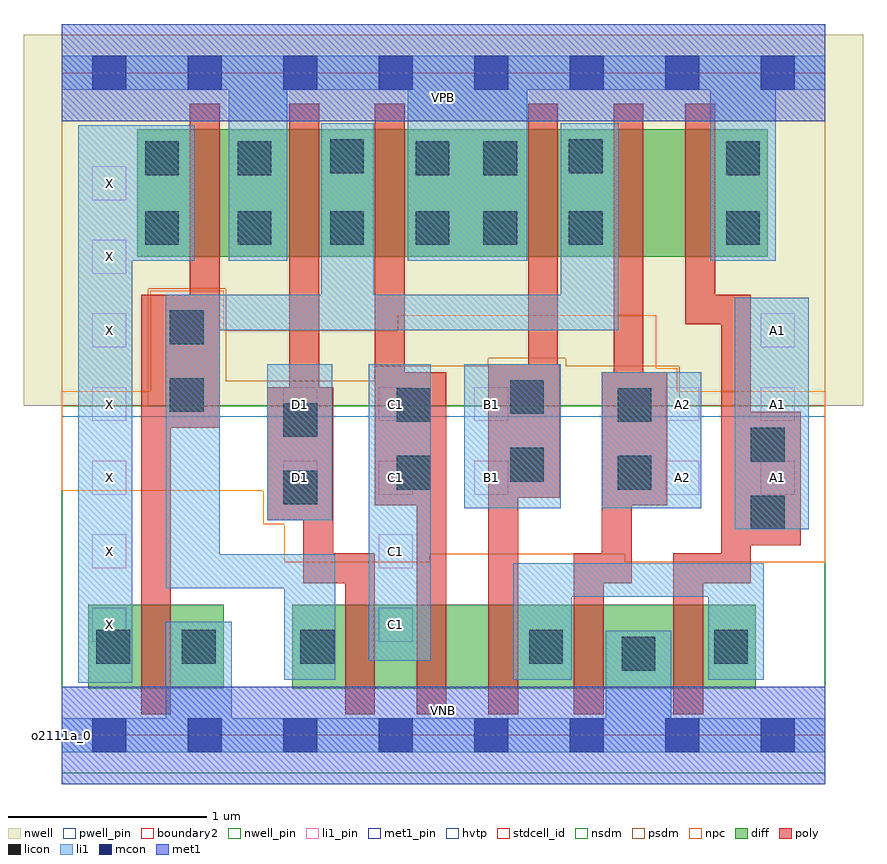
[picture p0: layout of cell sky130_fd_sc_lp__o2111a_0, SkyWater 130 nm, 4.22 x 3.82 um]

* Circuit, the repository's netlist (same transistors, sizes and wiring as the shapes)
* Copyright 2020 The SkyWater PDK Authors
*
* Licensed under the Apache License, Version 2.0 (the "License");
* you may not use this file except in compliance with the License.
* You may obtain a copy of the License at
*
*     https://www.apache.org/licenses/LICENSE-2.0
*
* Unless required by applicable law or agreed to in writing, software
* distributed under the License is distributed on an "AS IS" BASIS,
* WITHOUT WARRANTIES OR CONDITIONS OF ANY KIND, either express or implied.
* See the License for the specific language governing permissions and
* limitations under the License.
*
* SPDX-License-Identifier: Apache-2.0

.SUBCKT sky130_fd_sc_lp__o2111a_0 A1 A2 B1 C1 D1 VGND VNB VPB VPWR X
*.PININFO A1:I A2:I B1:I C1:I D1:I VGND:I VNB:I VPB:I VPWR:I X:O
MMPA0 VPWR A1 sndA1 VPB sky130_fd_pr__pfet_01v8_hvt m=1 w=0.64U l=0.15U mult=1
+ sa=0.265 sb=0.265 sd=0.28 area=0.063 perim=1.14
MMPA1 sndA1 A2 y VPB sky130_fd_pr__pfet_01v8_hvt m=1 w=0.64U l=0.15U mult=1 sa=0.265
+ sb=0.265 sd=0.28 area=0.063 perim=1.14
MMPB0 VPWR B1 y VPB sky130_fd_pr__pfet_01v8_hvt m=1 w=0.64U l=0.15U mult=1 sa=0.265
+ sb=0.265 sd=0.28 area=0.063 perim=1.14
MMPC0 VPWR C1 y VPB sky130_fd_pr__pfet_01v8_hvt m=1 w=0.64U l=0.15U mult=1 sa=0.265
+ sb=0.265 sd=0.28 area=0.063 perim=1.14
MMPD0 VPWR D1 y VPB sky130_fd_pr__pfet_01v8_hvt m=1 w=0.64U l=0.15U mult=1 sa=0.265
+ sb=0.265 sd=0.28 area=0.063 perim=1.14
MMIPX X y VPWR VPB sky130_fd_pr__pfet_01v8_hvt m=1 w=0.64U l=0.15U mult=1 sa=0.265
+ sb=0.265 sd=0.28 area=0.063 perim=1.14
MMNA0 pndA A1 VGND VNB sky130_fd_pr__nfet_01v8 m=1 w=0.42U l=0.15U mult=1 sa=0.265
+ sb=0.265 sd=0.28 area=0.063 perim=1.14
MMNA1 pndA A2 VGND VNB sky130_fd_pr__nfet_01v8 m=1 w=0.42U l=0.15U mult=1 sa=0.265
+ sb=0.265 sd=0.28 area=0.063 perim=1.14
MMNB0 pndB B1 pndA VNB sky130_fd_pr__nfet_01v8 m=1 w=0.42U l=0.15U mult=1 sa=0.265
+ sb=0.265 sd=0.28 area=0.063 perim=1.14
MMNC0 pndC C1 pndB VNB sky130_fd_pr__nfet_01v8 m=1 w=0.42U l=0.15U mult=1 sa=0.265
+ sb=0.265 sd=0.28 area=0.063 perim=1.14
MMND0 y D1 pndC VNB sky130_fd_pr__nfet_01v8 m=1 w=0.42U l=0.15U mult=1 sa=0.265
+ sb=0.265 sd=0.28 area=0.063 perim=1.14
MMINX X y VGND VNB sky130_fd_pr__nfet_01v8 m=1 w=0.42U l=0.15U mult=1 sa=0.265
+ sb=0.265 sd=0.28 area=0.063 perim=1.14
.ENDS sky130_fd_sc_lp__o2111a_0

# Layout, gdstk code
import gdstk
lib = gdstk.Library(unit=1e-6, precision=1e-09)
def R(c, l, rs):  # rectangles x0, y0, x1, y1
    for r in rs: c.add(gdstk.rectangle(r[:2], r[2:], *l))
def A(c, l, x, y, w, h, nx, ny, dx, dy):  # array of equal rectangles
    R(c, l, [(x+i*dx, y+j*dy, x+i*dx+w, y+j*dy+h) for i in range(nx) for j in range(ny)])
def P(c, l, *ps):  # polygons
    for p in ps: c.add(gdstk.Polygon(p, *l))
nwell_pin = (64, 16)
nwell = (64, 20)
diff = (65, 20)
poly = (66, 20)
licon = (66, 44)
li1_pin = (67, 16)
li1 = (67, 20)
mcon = (67, 44)
met1_pin = (68, 16)
met1 = (68, 20)
hvtp = (78, 44)
stdcell_id = (81, 4)
nsdm = (93, 44)
psdm = (94, 20)
npc = (95, 20)
pwell_pin = (122, 16)
boundary2 = (236, 0)

sky130_fd_sc_lp__o2111a_ = lib.new_cell('sky130_fd_sc_lp__o2111a_0')
R(sky130_fd_sc_lp__o2111a_, nwell_pin, [(0,3.085,3.84,3.33)])
R(sky130_fd_sc_lp__o2111a_, nwell, [(-0.19,1.655,4.03,3.52)])
R(sky130_fd_sc_lp__o2111a_, diff, [(0.135,0.235,0.815,0.655), (1.16,0.235,3.49,0.655), (0.38,2.405,3.55,3.045)])
P(sky130_fd_sc_lp__o2111a_, poly, [(0.795,3.175),(0.645,3.175),(0.645,2.215),(0.4,2.215),(0.4,0.105),(0.55,0.105),(0.55,1.545),(0.795,1.545)],
  [(1.575,0.915),(1.365,0.915),(1.365,1.75),(1.295,1.75),(1.295,3.175),(1.145,3.175),(1.145,1.75),(1.035,1.75),(1.035,1.08),(1.215,1.08),(1.215,0.765),(1.425,0.765),(1.425,0.105),(1.575,0.105)],
  [(1.935,1.825),(1.725,1.825),(1.725,3.175),(1.575,3.175),(1.575,1.155),(1.785,1.155),(1.785,0.105),(1.935,0.105)],
  [(2.505,1.865),(2.495,1.865),(2.495,3.175),(2.345,3.175),(2.345,1.865),(2.145,1.865),(2.145,0.105),(2.295,0.105),(2.295,1.195),(2.505,1.195)],
  [(3.045,1.825),(2.925,1.825),(2.925,3.175),(2.775,3.175),(2.775,1.825),(2.715,1.825),(2.715,0.915),(2.575,0.915),(2.575,0.105),(2.725,0.105),(2.725,0.765),(2.865,0.765),(2.865,1.155),(3.045,1.155)],
  [(3.715,1.625),(3.465,1.625),(3.465,2.215),(3.285,2.215),(3.285,3.175),(3.135,3.175),(3.135,2.065),(3.315,2.065),(3.315,0.915),(3.075,0.915),(3.075,0.105),(3.225,0.105),(3.225,0.765),(3.465,0.765),(3.465,0.955),(3.715,0.955)])
A(sky130_fd_sc_lp__o2111a_, licon, 0.42, 2.465, 0.17, 0.17, 3, 1, 0.465, 0)
R(sky130_fd_sc_lp__o2111a_, licon, [(2.815,0.325,2.985,0.495), (0.175,0.36,0.345,0.53), (0.605,0.36,0.775,0.53), (1.2,0.36,1.37,0.53), (2.35,0.36,2.52,0.53), (3.28,0.36,3.45,0.53), (3.465,1.035,3.635,1.205), (1.115,1.16,1.285,1.33), (1.685,1.235,1.855,1.405), (2.795,1.235,2.965,1.405), (2.255,1.275,2.425,1.445), (3.465,1.375,3.635,1.545), (1.115,1.5,1.285,1.67), (1.685,1.575,1.855,1.745), (2.795,1.575,2.965,1.745), (2.255,1.615,2.425,1.785), (0.545,1.625,0.715,1.795), (0.545,1.965,0.715,2.135), (1.78,2.465,1.95,2.635), (2.12,2.465,2.29,2.635), (2.55,2.465,2.72,2.635), (3.34,2.465,3.51,2.635), (0.42,2.815,0.59,2.985), (0.885,2.815,1.055,2.985), (1.78,2.815,1.95,2.985), (2.12,2.815,2.29,2.985), (3.34,2.815,3.51,2.985), (1.35,2.825,1.52,2.995), (2.55,2.825,2.72,2.995)])
A(sky130_fd_sc_lp__o2111a_, li1_pin, 0.155, 0.47, 0.17, 0.17, 1, 7, 0, 0.37)
A(sky130_fd_sc_lp__o2111a_, li1_pin, 1.115, 1.21, 0.17, 0.17, 3, 2, 0.48, 0.37)
A(sky130_fd_sc_lp__o2111a_, li1_pin, 3.515, 1.21, 0.17, 0.17, 1, 3, 0, 0.37)
R(sky130_fd_sc_lp__o2111a_, li1_pin, [(1.595,0.47,1.765,0.64), (1.595,0.84,1.765,1.01), (3.035,1.21,3.205,1.38), (3.035,1.58,3.205,1.75)])
R(sky130_fd_sc_lp__o2111a_, li1, [(1.545,0.375,1.855,1.865), (3.385,1.035,3.755,2.2), (1.035,1.08,1.36,1.865), (2.025,1.14,2.51,1.865), (2.715,1.14,3.215,1.825)])
P(sky130_fd_sc_lp__o2111a_, li1, [(2.8,3.075),(2.51,3.075),(2.51,2.215),(1.57,2.215),(1.57,3.075),(1.305,3.075),(1.305,2.215),(0.525,2.215),(0.525,0.74),(1.12,0.74),(1.12,0.28),(1.375,0.28),(1.375,0.91),(0.795,0.91),(0.795,2.035),(2.8,2.035)],
  [(3.84,3.415),(0,3.415),(0,3.245),(0.84,3.245),(0.84,2.385),(1.135,2.385),(1.135,3.245),(1.74,3.245),(1.74,2.385),(2.34,2.385),(2.34,3.245),(3.26,3.245),(3.26,2.385),(3.59,2.385),(3.59,3.245),(3.84,3.245)],
  [(0.67,3.065),(0.085,3.065),(0.085,0.265),(0.355,0.265),(0.355,2.385),(0.67,2.385)],
  [(3.53,0.865),(2.27,0.865),(2.27,0.28),(2.565,0.28),(2.565,0.695),(3.25,0.695),(3.25,0.28),(3.53,0.28)],
  [(3.84,0.085),(3.065,0.085),(3.065,0.525),(2.735,0.525),(2.735,0.085),(0.855,0.085),(0.855,0.57),(0.525,0.57),(0.525,0.085),(0,0.085),(0,-0.085),(3.84,-0.085)])
A(sky130_fd_sc_lp__o2111a_, mcon, 0.155, -0.085, 0.17, 0.17, 8, 2, 0.48, 3.33)
R(sky130_fd_sc_lp__o2111a_, met1_pin, [(0,0,3.84,0.245), (0,3.085,3.84,3.33)])
R(sky130_fd_sc_lp__o2111a_, met1, [(0,-0.245,3.84,0.245), (0,3.085,3.84,3.575)])
R(sky130_fd_sc_lp__o2111a_, hvtp, [(0,1.6,3.84,3.33)])
R(sky130_fd_sc_lp__o2111a_, stdcell_id, [(0,0,3.84,3.33)])
R(sky130_fd_sc_lp__o2111a_, nsdm, [(0,-0.19,3.84,1.655)])
P(sky130_fd_sc_lp__o2111a_, psdm, [(3.84,3.52),(0,3.52),(0,1.655),(0.435,1.655),(0.435,2.245),(0.825,2.245),(0.825,1.78),(1.575,1.78),(1.575,1.855),(2.145,1.855),(2.145,1.895),(2.535,1.895),(2.535,1.855),(3.105,1.855),(3.105,1.655),(3.84,1.655)])
P(sky130_fd_sc_lp__o2111a_, npc, [(3.84,1.73),(3.095,1.73),(3.095,1.845),(2.99,1.845),(2.99,2.11),(1.69,2.11),(1.69,2.035),(0.815,2.035),(0.815,2.235),(0.445,2.235),(0.445,1.73),(0,1.73),(0,1.23),(1.015,1.23),(1.015,1.06),(1.12,1.06),(1.12,0.87),(1.85,0.87),(1.85,0.91),(2.83,0.91),(2.83,0.87),(3.84,0.87)])
R(sky130_fd_sc_lp__o2111a_, pwell_pin, [(0,0,3.84,0.245)])
R(sky130_fd_sc_lp__o2111a_, boundary2, [(0,0,3.84,3.33)])
sky130_fd_sc_lp__o2111a_.add(gdstk.Label('VNB', (1.92,0.123), layer=64, texttype=59))
sky130_fd_sc_lp__o2111a_.add(gdstk.Label('VPB', (1.92,3.208), layer=64, texttype=5))
sky130_fd_sc_lp__o2111a_.add(gdstk.Label('o2111a_0', (0,0), layer=83, texttype=44))
sky130_fd_sc_lp__o2111a_.add(gdstk.Label('VPWR', (1.92,3.208), layer=68, texttype=5))
sky130_fd_sc_lp__o2111a_.add(gdstk.Label('VGND', (1.92,0.123), layer=68, texttype=5))
sky130_fd_sc_lp__o2111a_.add(gdstk.Label('A1', (3.6,1.295), layer=67, texttype=5))
sky130_fd_sc_lp__o2111a_.add(gdstk.Label('A1', (3.6,1.665), layer=67, texttype=5))
sky130_fd_sc_lp__o2111a_.add(gdstk.Label('A1', (3.6,2.035), layer=67, texttype=5))
sky130_fd_sc_lp__o2111a_.add(gdstk.Label('A2', (3.12,1.295), layer=67, texttype=5))
sky130_fd_sc_lp__o2111a_.add(gdstk.Label('A2', (3.12,1.665), layer=67, texttype=5))
sky130_fd_sc_lp__o2111a_.add(gdstk.Label('B1', (2.16,1.295), layer=67, texttype=5))
sky130_fd_sc_lp__o2111a_.add(gdstk.Label('B1', (2.16,1.665), layer=67, texttype=5))
sky130_fd_sc_lp__o2111a_.add(gdstk.Label('C1', (1.68,0.555), layer=67, texttype=5))
sky130_fd_sc_lp__o2111a_.add(gdstk.Label('C1', (1.68,0.925), layer=67, texttype=5))
sky130_fd_sc_lp__o2111a_.add(gdstk.Label('C1', (1.68,1.295), layer=67, texttype=5))
sky130_fd_sc_lp__o2111a_.add(gdstk.Label('C1', (1.68,1.665), layer=67, texttype=5))
sky130_fd_sc_lp__o2111a_.add(gdstk.Label('D1', (1.2,1.295), layer=67, texttype=5))
sky130_fd_sc_lp__o2111a_.add(gdstk.Label('D1', (1.2,1.665), layer=67, texttype=5))
sky130_fd_sc_lp__o2111a_.add(gdstk.Label('X', (0.24,0.555), layer=67, texttype=5))
sky130_fd_sc_lp__o2111a_.add(gdstk.Label('X', (0.24,0.925), layer=67, texttype=5))
sky130_fd_sc_lp__o2111a_.add(gdstk.Label('X', (0.24,1.295), layer=67, texttype=5))
sky130_fd_sc_lp__o2111a_.add(gdstk.Label('X', (0.24,1.665), layer=67, texttype=5))
sky130_fd_sc_lp__o2111a_.add(gdstk.Label('X', (0.24,2.035), layer=67, texttype=5))
sky130_fd_sc_lp__o2111a_.add(gdstk.Label('X', (0.24,2.405), layer=67, texttype=5))
sky130_fd_sc_lp__o2111a_.add(gdstk.Label('X', (0.24,2.775), layer=67, texttype=5))

lib.write_gds('sky130_fd_sc_lp__o2111a_0.gds')
